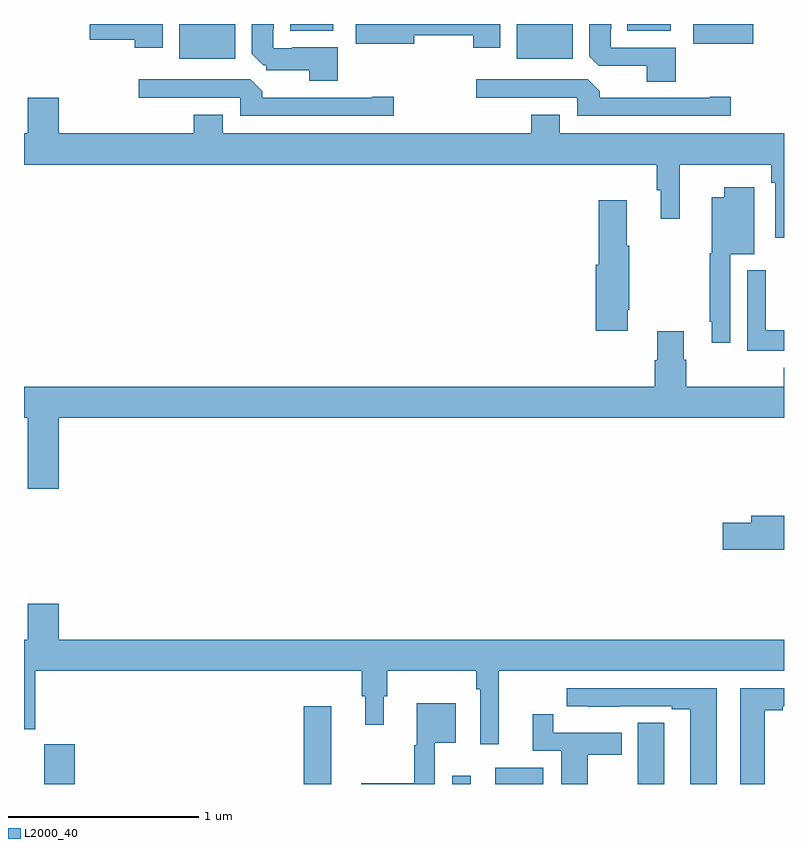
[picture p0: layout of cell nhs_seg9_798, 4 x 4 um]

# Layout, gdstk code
import gdstk
lib = gdstk.Library(unit=1e-6, precision=1e-09)
def R(c, l, rs):  # rectangles x0, y0, x1, y1
    for r in rs: c.add(gdstk.rectangle(r[:2], r[2:], *l))
def P(c, l, *ps):  # polygons
    for p in ps: c.add(gdstk.Polygon(p, *l))
L2000_40 = (2000, 40)

nhs_seg9_798 = lib.new_cell('nhs_seg9_798')
R(nhs_seg9_798, L2000_40, [(153.106,1186.5,153.266,1186.708), (154.472,1186.5,154.618,1186.909), (155.253,1186.5,155.35,1186.543), (155.48,1186.5,155.734,1186.585), (153.818,1190.318,154.111,1190.5), (155.594,1190.318,155.887,1190.5), (156.522,1190.396,156.837,1190.5), (154.4,1190.465,154.627,1190.5), (156.176,1190.465,156.403,1190.5)])
P(nhs_seg9_798, L2000_40, [(156.431,1190.376),(156.087,1190.376),(156.087,1190.473),(156.091,1190.473),(156.091,1190.5),(155.975,1190.5),(155.975,1190.329),(156.024,1190.28),(156.278,1190.28),(156.278,1190.197),(156.431,1190.197)],
  [(153.73,1190.5),(153.345,1190.5),(153.345,1190.417),(153.584,1190.417),(153.584,1190.376),(153.73,1190.376)],
  [(155.506,1190.5),(154.746,1190.5),(154.746,1190.396),(155.053,1190.396),(155.053,1190.44),(155.365,1190.44),(155.365,1190.376),(155.506,1190.376)],
  [(154.651,1190.377),(154.411,1190.377),(154.411,1190.373),(154.311,1190.373),(154.311,1190.473),(154.315,1190.473),(154.315,1190.5),(154.199,1190.5),(154.199,1190.343),(154.259,1190.283),(154.275,1190.283),(154.275,1190.256),(154.502,1190.256),(154.502,1190.201),(154.651,1190.201)],
  [(156.721,1190.117),(156.608,1190.117),(156.608,1190.112),(156.029,1190.112),(156.029,1190.146),(155.967,1190.208),(155.379,1190.208),(155.379,1190.112),(155.913,1190.112),(155.913,1190.016),(156.721,1190.016)],
  [(154.945,1190.117),(154.832,1190.117),(154.832,1190.112),(154.253,1190.112),(154.253,1190.146),(154.191,1190.208),(153.603,1190.208),(153.603,1190.112),(154.137,1190.112),(154.137,1190.016),(154.945,1190.016)],
  [(155.821,1190.023),(155.669,1190.023),(155.669,1189.924),(154.045,1189.924),(154.045,1190.023),(153.893,1190.023),(153.893,1189.924),(153.184,1189.924),(153.184,1190.113),(153.02,1190.113),(153.02,1189.924),(153,1189.924),(153,1189.76),(156.331,1189.76),(156.331,1189.626),(156.35,1189.626),(156.35,1189.476),(156.45,1189.476),(156.45,1189.76),(156.934,1189.76),(156.934,1189.664),(156.954,1189.664),(156.954,1189.374),(157,1189.374),(157,1189.924),(155.821,1189.924)],
  [(156.717,1189.289),(156.844,1189.289),(156.844,1189.642),(156.686,1189.642),(156.686,1189.588),(156.62,1189.588),(156.62,1189.293),(156.609,1189.293),(156.609,1188.934),(156.62,1188.934),(156.62,1188.822),(156.717,1188.822)],
  [(156.178,1188.997),(156.186,1188.997),(156.186,1189.333),(156.172,1189.333),(156.172,1189.573),(156.026,1189.573),(156.026,1189.233),(156.008,1189.233),(156.008,1188.885),(156.178,1188.885)],
  [(157,1188.889),(156.904,1188.889),(156.904,1189.204),(156.807,1189.204),(156.807,1188.78),(157,1188.78)],
  [(153.184,1188.428),(157,1188.428),(157,1188.69),(156.998,1188.69),(156.998,1188.592),(156.485,1188.592),(156.485,1188.734),(156.472,1188.734),(156.472,1188.883),(156.332,1188.883),(156.332,1188.729),(156.32,1188.729),(156.32,1188.592),(153,1188.592),(153,1188.428),(153.02,1188.428),(153.02,1188.054),(153.184,1188.054)],
  [(157,1187.912),(156.827,1187.912),(156.827,1187.876),(156.678,1187.876),(156.678,1187.734),(157,1187.734)],
  [(155.498,1187.096),(157,1187.096),(157,1187.26),(153.184,1187.26),(153.184,1187.449),(153.02,1187.449),(153.02,1187.26),(153,1187.26),(153,1186.787),(153.058,1186.787),(153.058,1187.096),(154.777,1187.096),(154.777,1186.962),(154.796,1186.962),(154.796,1186.812),(154.894,1186.812),(154.894,1186.962),(154.913,1186.962),(154.913,1187.096),(155.38,1187.096),(155.38,1187),(155.4,1187),(155.4,1186.71),(155.498,1186.71)],
  [(156.646,1187.004),(155.856,1187.004),(155.856,1186.908),(155.968,1186.908),(155.968,1186.907),(156.134,1186.907),(156.134,1186.908),(156.41,1186.908),(156.41,1186.893),(156.506,1186.893),(156.506,1186.5),(156.646,1186.5)],
  [(156.898,1186.888),(156.994,1186.888),(156.994,1186.908),(157,1186.908),(157,1187.004),(156.77,1187.004),(156.77,1186.5),(156.898,1186.5)],
  [(155.163,1186.718),(155.272,1186.718),(155.272,1186.924),(155.066,1186.924),(155.066,1186.704),(155.055,1186.704),(155.055,1186.505),(154.776,1186.505),(154.776,1186.5),(155.163,1186.5)],
  [(155.968,1186.654),(156.145,1186.654),(156.145,1186.77),(155.786,1186.77),(155.786,1186.867),(155.678,1186.867),(155.678,1186.674),(155.828,1186.674),(155.828,1186.5),(155.968,1186.5)],
  [(156.37,1186.715),(156.369,1186.715),(156.369,1186.823),(156.23,1186.823),(156.23,1186.5),(156.37,1186.5)])

lib.write_gds('nhs_seg9_798.gds')
